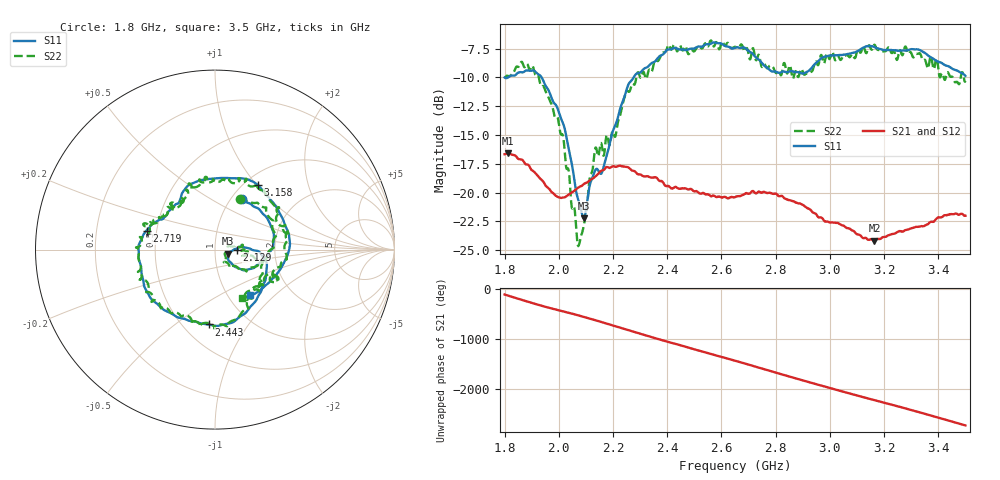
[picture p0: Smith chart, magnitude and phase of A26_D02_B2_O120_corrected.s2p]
! Created with skrf 1.9.0 (http://scikit-rf.org).
# Hz S RI R 50.0
!freq ReS11 ImS11 ReS21 ImS21 ReS12 ImS12 ReS22 ImS22
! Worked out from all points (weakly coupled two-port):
!   1601 points, 1.8 GHz to 3.5 GHz, reference 50 ohm
!   highest |S21| = -16.59 dB at 1.814 GHz (marker M1); lowest = -24.2 dB at 3.164 GHz (marker M2)
!   lowest |S11| = -22.2 dB at 2.092 GHz (marker M3), VSWR 1.17, Z = 57.9 - j2.65 ohm
!   |S11| at or under -10 dB: 1.8 GHz to 1.812 GHz (12.32 MHz wide, 0.682 % of centre); 1.937 GHz to 2.276 GHz (339.2 MHz wide, 16.1 % of centre)
!   |S22| runs from -24.6 to -6.8 dB; largest |S21 - S12| = 0.0025
!   S11 on the Smith chart (normalised r, x): 1.8 GHz: 1.12, +0.70; 2.129 GHz: 1.28, -0.00; 2.443 GHz: 0.66, -0.67; 2.719 GHz: 0.44, +0.11; 3.158 GHz: 1.15, +1.01; 3.5 GHz: 1.26, -0.72
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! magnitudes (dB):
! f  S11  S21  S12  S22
! 1.8 GHz  -10.0  -16.7  -16.7  -10.0
! 1.814 GHz  -10.0  -16.6  -16.6  -9.9
! 1.9 GHz  -9.4  -18.0  -17.9  -9.0
! 1.952 GHz  -10.7  -19.4  -19.4  -11.3
! 2.019 GHz  -14.2  -20.4  -20.4  -15.6
! 2.07 GHz  -20.5  -19.6  -19.6  -24.6
! 2.084 GHz  -21.7  -19.4  -19.4  -23.6
! 2.092 GHz  -22.2  -19.3  -19.3  -22.9
! 2.129 GHz  -18.3  -18.7  -18.7  -17.0
! 2.162 GHz  -18.0  -18.1  -18.0  -16.5
! 2.21 GHz  -14.0  -17.8  -17.7  -15.0
! 2.259 GHz  -10.5  -17.8  -17.9  -11.2
! 2.367 GHz  -8.3  -18.9  -18.8  -8.5
! 2.443 GHz  -7.6  -19.6  -19.7  -7.4
! 2.65 GHz  -7.4  -20.4  -20.4  -7.3
! 2.719 GHz  -8.0  -19.9  -19.8  -7.6
! 2.789 GHz  -9.5  -20.1  -20.1  -9.1
! 2.934 GHz  -9.1  -21.6  -21.6  -9.5
! 3.158 GHz  -7.3  -24.1  -24.1  -7.5
! 3.164 GHz  -7.3  -24.2  -24.1  -7.2
! 3.217 GHz  -7.6  -23.7  -23.7  -7.4
! 3.5 GHz  -9.9  -22.0  -22.0  -10.3
